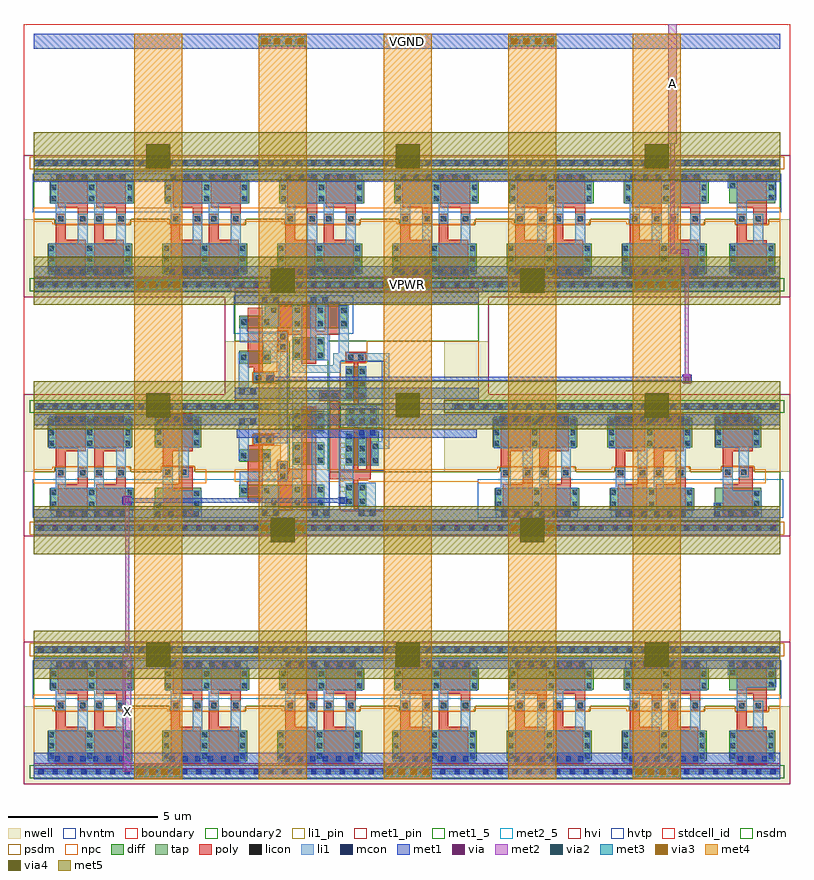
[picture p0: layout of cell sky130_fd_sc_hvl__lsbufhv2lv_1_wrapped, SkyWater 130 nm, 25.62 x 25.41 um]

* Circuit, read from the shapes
.subckt sky130_fd_sc_hvl__lsbufhv2lv_1_wrapped A VGND VPB VPWR X
XM1 VGND VPWR VGND VGND sky130_fd_pr__nfet_g5v0d10v5 w=0.75 l=1 m=34
XM2 VGND n1 n2 VGND sky130_fd_pr__nfet_g5v0d10v5 w=0.42 l=0.5
XM3 VPWR A n1 VGND sky130_fd_pr__nfet_g5v0d10v5 w=0.42 l=0.5
XM4 n3 n2 VGND VGND sky130_fd_pr__nfet_g5v0d10v5 w=0.75 l=0.5 m=4
XM5 n4 n1 VPWR VGND sky130_fd_pr__nfet_g5v0d10v5 w=0.75 l=0.5 m=4
XM6 VGND n3 X VGND sky130_fd_pr__nfet_01v8 w=0.74 l=0.15
XM7 VPWR VGND VPWR VPWR sky130_fd_pr__pfet_g5v0d10v5 w=1 l=1 m=26
XM8 VPWR VGND VPWR VPB sky130_fd_pr__pfet_g5v0d10v5 w=1 l=1 m=8
XM9 n2 n1 VPWR VPB sky130_fd_pr__pfet_g5v0d10v5 w=0.42 l=0.5
XM10 n1 A VPWR VPB sky130_fd_pr__pfet_g5v0d10v5 w=0.42 l=0.5
XM11 sky130_fd_sc_hvl__lsbufhv2lv_1_13/LVPWR n3 X sky130_fd_sc_hvl__lsbufhv2lv_1_13/LVPWR sky130_fd_pr__pfet_01v8_hvt w=1.12 l=0.15
XM12 sky130_fd_sc_hvl__lsbufhv2lv_1_13/LVPWR n4 n3 sky130_fd_sc_hvl__lsbufhv2lv_1_13/LVPWR sky130_fd_pr__pfet_01v8_hvt w=1.12 l=0.15
XM13 n4 n3 sky130_fd_sc_hvl__lsbufhv2lv_1_13/LVPWR sky130_fd_sc_hvl__lsbufhv2lv_1_13/LVPWR sky130_fd_pr__pfet_01v8_hvt w=1.12 l=0.15
.ends

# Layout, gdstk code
import gdstk
lib = gdstk.Library(unit=1e-6, precision=1e-09)
def R(c, l, rs):  # rectangles x0, y0, x1, y1
    for r in rs: c.add(gdstk.rectangle(r[:2], r[2:], *l))
def A(c, l, x, y, w, h, nx, ny, dx, dy):  # array of equal rectangles
    R(c, l, [(x+i*dx, y+j*dy, x+i*dx+w, y+j*dy+h) for i in range(nx) for j in range(ny)])
def P(c, l, *ps):  # polygons
    for p in ps: c.add(gdstk.Polygon(p, *l))
nwell = (64, 20)
diff = (65, 20)
tap = (65, 44)
poly = (66, 20)
licon = (66, 44)
li1_pin = (67, 16)
li1 = (67, 20)
mcon = (67, 44)
met1_5 = (68, 5)
met1_pin = (68, 16)
met1 = (68, 20)
via = (68, 44)
met2_5 = (69, 5)
met2 = (69, 20)
via2 = (69, 44)
met3 = (70, 20)
via3 = (70, 44)
met4 = (71, 20)
via4 = (71, 44)
met5 = (72, 20)
hvi = (75, 20)
hvtp = (78, 44)
stdcell_id = (81, 4)
nsdm = (93, 44)
psdm = (94, 20)
npc = (95, 20)
hvntm = (125, 20)
boundary = (235, 4)
boundary2 = (236, 0)

sky130_fd_sc_hvl__decap_ = lib.new_cell('sky130_fd_sc_hvl__decap_8')
R(sky130_fd_sc_hvl__decap_, nwell, [(-0.33,1.885,4.17,4.485)])
R(sky130_fd_sc_hvl__decap_, diff, [(0.535,0.59,3.365,1.34), (0.46,2.7,3.3,3.7)])
R(sky130_fd_sc_hvl__decap_, tap, [(0,-0.085,3.84,0.085), (0,3.985,3.84,4.155)])
P(sky130_fd_sc_hvl__decap_, poly, [(3.08,2.025),(2.75,2.025),(2.75,1.47),(2.08,1.47),(2.08,0.4),(3.08,0.4)],
  [(3.015,3.83),(2.015,3.83),(2.015,1.695),(2.345,1.695),(2.345,2.57),(3.015,2.57)],
  [(1.735,3.83),(0.735,3.83),(0.735,1.695),(1.065,1.695),(1.065,2.57),(1.735,2.57)],
  [(1.8,2.025),(1.47,2.025),(1.47,1.47),(0.8,1.47),(0.8,0.4),(1.8,0.4)])
A(sky130_fd_sc_hvl__decap_, licon, 0.155, -0.085, 0.17, 0.17, 8, 2, 0.48, 4.07)
A(sky130_fd_sc_hvl__decap_, licon, 0.575, 0.72, 0.17, 0.17, 3, 2, 1.28, 0.39)
A(sky130_fd_sc_hvl__decap_, licon, 0.5, 2.76, 0.17, 0.17, 1, 3, 0, 0.355)
A(sky130_fd_sc_hvl__decap_, licon, 1.79, 2.76, 0.17, 0.17, 1, 3, 0, 0.355)
A(sky130_fd_sc_hvl__decap_, licon, 3.07, 2.76, 0.17, 0.17, 1, 3, 0, 0.355)
R(sky130_fd_sc_hvl__decap_, licon, [(0.815,1.775,0.985,1.945), (1.55,1.775,1.72,1.945), (2.095,1.775,2.265,1.945), (2.83,1.775,3,1.945)])
R(sky130_fd_sc_hvl__decap_, li1, [(0,-0.085,3.84,0.085), (0,3.985,3.84,4.155)])
P(sky130_fd_sc_hvl__decap_, li1, [(3.24,3.75),(0.5,3.75),(0.5,2.68),(1.47,2.68),(1.47,1.695),(1.8,1.695),(1.8,2.68),(2.75,2.68),(2.75,1.695),(3.08,1.695),(3.08,2.68),(3.24,2.68)],
  [(3.305,1.36),(2.345,1.36),(2.345,2.025),(2.015,2.025),(2.015,1.36),(1.065,1.36),(1.065,2.025),(0.735,2.025),(0.735,1.36),(0.575,1.36),(0.575,0.36),(3.305,0.36)])
A(sky130_fd_sc_hvl__decap_, mcon, 0.155, -0.085, 0.17, 0.17, 8, 2, 0.48, 4.07)
R(sky130_fd_sc_hvl__decap_, mcon, [(0.745,0.39,0.915,0.56), (1.185,0.39,1.355,0.56), (1.6,0.39,1.77,0.56), (2.025,0.39,2.195,0.56), (2.465,0.39,2.635,0.56), (2.88,0.39,3.05,0.56), (0.705,3.555,0.875,3.725), (1.145,3.555,1.315,3.725), (1.56,3.555,1.73,3.725), (1.985,3.555,2.155,3.725), (2.425,3.555,2.595,3.725), (2.84,3.555,3.01,3.725)])
R(sky130_fd_sc_hvl__decap_, met1_pin, [(0,0,3.84,0.115), (0,0,3.84,0.115), (0,0.255,3.84,0.625), (0,3.445,3.84,3.815), (0,3.955,3.84,4.07), (0,3.955,3.84,4.07)])
R(sky130_fd_sc_hvl__decap_, met1, [(0,-0.115,3.84,0.115), (0,0.255,3.84,0.625), (0,3.445,3.84,3.815), (0,3.955,3.84,4.185)])
R(sky130_fd_sc_hvl__decap_, hvi, [(-0.33,-0.265,4.17,4.485)])
R(sky130_fd_sc_hvl__decap_, stdcell_id, [(0,0,3.84,4.07)])
R(sky130_fd_sc_hvl__decap_, nsdm, [(-0.13,3.855,3.97,4.285)])
P(sky130_fd_sc_hvl__decap_, nsdm, [(3.84,1.885),(3.24,1.885),(3.24,2.055),(0.705,2.055),(0.705,1.885),(0,1.885),(0,0.215),(3.84,0.215)])
R(sky130_fd_sc_hvl__decap_, psdm, [(-0.13,-0.215,3.97,0.215)])
P(sky130_fd_sc_hvl__decap_, psdm, [(3.84,3.855),(0,3.855),(0,1.885),(0.705,1.885),(0.705,2.055),(3.24,2.055),(3.24,1.885),(3.84,1.885)])
P(sky130_fd_sc_hvl__decap_, npc, [(3.84,1.97),(3.2,1.97),(3.2,2.05),(0.615,2.05),(0.615,1.97),(0,1.97),(0,1.5),(3.84,1.5)])
R(sky130_fd_sc_hvl__decap_, hvntm, [(-0.035,0.35,3.875,1.64)])
R(sky130_fd_sc_hvl__decap_, boundary2, [(0,0,3.84,4.07)])
sky130_fd_sc_hvl__decap_.add(gdstk.Label('decap_8', (0,0), layer=83, texttype=44))
sky130_fd_sc_hvl__decap_.add(gdstk.Label('VNB', (1.92,0.058), layer=68, texttype=5))
sky130_fd_sc_hvl__decap_.add(gdstk.Label('VGND', (1.92,0.44), layer=68, texttype=5))
sky130_fd_sc_hvl__decap_.add(gdstk.Label('VNB', (1.92,0.058), layer=68, texttype=5))
sky130_fd_sc_hvl__decap_.add(gdstk.Label('VPWR', (1.92,3.63), layer=68, texttype=5))
sky130_fd_sc_hvl__decap_.add(gdstk.Label('VPB', (1.92,4.013), layer=68, texttype=5))
sky130_fd_sc_hvl__decap_.add(gdstk.Label('VPB', (1.92,4.013), layer=68, texttype=5))

c_sky130_fd_sc_hvl__decap_ = lib.new_cell('sky130_fd_sc_hvl__decap_4')
R(c_sky130_fd_sc_hvl__decap_, nwell, [(-0.33,1.885,2.25,4.485)])
R(c_sky130_fd_sc_hvl__decap_, diff, [(0.21,0.595,1.76,1.345), (0.21,2.705,1.76,3.705)])
R(c_sky130_fd_sc_hvl__decap_, tap, [(0,-0.085,1.92,0.085), (0,3.985,1.92,4.155)])
P(c_sky130_fd_sc_hvl__decap_, poly, [(1.475,3.835),(0.475,3.835),(0.475,1.7),(0.805,1.7),(0.805,2.575),(1.475,2.575)],
  [(1.475,2.03),(1.015,2.03),(1.015,1.475),(0.475,1.475),(0.475,0.405),(1.475,0.405)])
A(c_sky130_fd_sc_hvl__decap_, licon, 0.155, -0.085, 0.17, 0.17, 4, 2, 0.48, 4.07)
A(c_sky130_fd_sc_hvl__decap_, licon, 0.25, 2.765, 0.17, 0.17, 1, 3, 0, 0.355)
A(c_sky130_fd_sc_hvl__decap_, licon, 1.53, 2.765, 0.17, 0.17, 1, 3, 0, 0.355)
R(c_sky130_fd_sc_hvl__decap_, licon, [(0.25,0.675,0.42,0.845), (1.53,0.725,1.7,0.895), (1.53,1.08,1.7,1.25), (0.555,1.78,0.725,1.95), (1.095,1.78,1.265,1.95)])
R(c_sky130_fd_sc_hvl__decap_, li1, [(0,-0.085,1.92,0.085), (0,3.985,1.92,4.155)])
P(c_sky130_fd_sc_hvl__decap_, li1, [(1.7,3.755),(0.25,3.755),(0.25,2.685),(1.015,2.685),(1.015,1.7),(1.345,1.7),(1.345,2.685),(1.7,2.685)],
  [(1.78,1.25),(0.805,1.25),(0.805,2.03),(0.475,2.03),(0.475,0.845),(0.17,0.845),(0.17,0.365),(1.78,0.365)])
A(c_sky130_fd_sc_hvl__decap_, mcon, 0.155, -0.085, 0.17, 0.17, 4, 2, 0.48, 4.07)
A(c_sky130_fd_sc_hvl__decap_, mcon, 0.215, 0.395, 0.17, 0.17, 3, 1, 0.44, 0)
R(c_sky130_fd_sc_hvl__decap_, mcon, [(1.51,0.395,1.68,0.565), (0.495,3.56,0.665,3.73), (0.86,3.56,1.03,3.73), (1.3,3.56,1.47,3.73)])
R(c_sky130_fd_sc_hvl__decap_, met1_pin, [(0,0,1.92,0.115), (0,0,1.92,0.115), (0,0.255,1.92,0.625), (0,3.445,1.92,3.815), (0,3.955,1.92,4.07), (0,3.955,1.92,4.07)])
R(c_sky130_fd_sc_hvl__decap_, met1, [(0,-0.115,1.92,0.115), (0,0.255,1.92,0.625), (0,3.445,1.92,3.815), (0,3.955,1.92,4.185)])
R(c_sky130_fd_sc_hvl__decap_, hvi, [(-0.33,-0.265,2.25,4.485)])
R(c_sky130_fd_sc_hvl__decap_, stdcell_id, [(0,0,1.92,4.07)])
R(c_sky130_fd_sc_hvl__decap_, nsdm, [(-0.13,3.855,2.05,4.285)])
P(c_sky130_fd_sc_hvl__decap_, nsdm, [(1.92,1.885),(1.54,1.885),(1.54,2.07),(0.425,2.07),(0.425,1.885),(0,1.885),(0,0.215),(1.92,0.215)])
R(c_sky130_fd_sc_hvl__decap_, psdm, [(-0.13,-0.215,2.05,0.215)])
P(c_sky130_fd_sc_hvl__decap_, psdm, [(1.92,3.855),(0,3.855),(0,1.885),(0.425,1.885),(0.425,2.07),(1.54,2.07),(1.54,1.885),(1.92,1.885)])
P(c_sky130_fd_sc_hvl__decap_, npc, [(1.92,1.97),(1.54,1.97),(1.54,2.05),(0.425,2.05),(0.425,1.97),(0,1.97),(0,1.5),(1.92,1.5)])
R(c_sky130_fd_sc_hvl__decap_, hvntm, [(-0.035,0.35,1.955,1.64)])
R(c_sky130_fd_sc_hvl__decap_, boundary2, [(0,0,1.92,4.07)])
c_sky130_fd_sc_hvl__decap_.add(gdstk.Label('decap_4', (0,0), layer=83, texttype=44))
c_sky130_fd_sc_hvl__decap_.add(gdstk.Label('VNB', (0.96,0.058), layer=68, texttype=5))
c_sky130_fd_sc_hvl__decap_.add(gdstk.Label('VGND', (0.96,0.44), layer=68, texttype=5))
c_sky130_fd_sc_hvl__decap_.add(gdstk.Label('VNB', (0.96,0.058), layer=68, texttype=5))
c_sky130_fd_sc_hvl__decap_.add(gdstk.Label('VPWR', (0.96,3.63), layer=68, texttype=5))
c_sky130_fd_sc_hvl__decap_.add(gdstk.Label('VPB', (0.96,4.013), layer=68, texttype=5))
c_sky130_fd_sc_hvl__decap_.add(gdstk.Label('VPB', (0.96,4.013), layer=68, texttype=5))

sky130_fd_sc_hvl__fill_2 = lib.new_cell('sky130_fd_sc_hvl__fill_2')
R(sky130_fd_sc_hvl__fill_2, nwell, [(-0.33,1.885,1.29,4.485)])
R(sky130_fd_sc_hvl__fill_2, tap, [(0,-0.085,0.96,0.085), (0,3.985,0.96,4.155)])
R(sky130_fd_sc_hvl__fill_2, licon, [(0.155,-0.085,0.325,0.085), (0.635,-0.085,0.805,0.085), (0.155,3.985,0.325,4.155), (0.635,3.985,0.805,4.155)])
R(sky130_fd_sc_hvl__fill_2, li1, [(0,-0.085,0.96,0.085), (0,3.985,0.96,4.155)])
R(sky130_fd_sc_hvl__fill_2, mcon, [(0.155,-0.085,0.325,0.085), (0.155,-0.085,0.325,0.085), (0.635,-0.085,0.805,0.085), (0.635,-0.085,0.805,0.085), (0.155,3.985,0.325,4.155), (0.155,3.985,0.325,4.155), (0.635,3.985,0.805,4.155), (0.635,3.985,0.805,4.155)])
R(sky130_fd_sc_hvl__fill_2, met1_pin, [(0,0,0.96,0.115), (0,0,0.96,0.115), (0,0.255,0.96,0.625), (0,3.445,0.96,3.815), (0,3.955,0.96,4.07), (0,3.955,0.96,4.07)])
R(sky130_fd_sc_hvl__fill_2, met1, [(0,-0.115,0.96,0.115), (0,0.255,0.96,0.625), (0,3.445,0.96,3.815), (0,3.955,0.96,4.185)])
R(sky130_fd_sc_hvl__fill_2, hvi, [(-0.33,-0.265,1.29,4.485)])
R(sky130_fd_sc_hvl__fill_2, stdcell_id, [(0,0,0.96,4.07)])
R(sky130_fd_sc_hvl__fill_2, nsdm, [(0,0.215,0.96,1.885), (-0.13,3.855,1.09,4.285), (0,3.855,0.96,4.07)])
R(sky130_fd_sc_hvl__fill_2, psdm, [(-0.13,-0.215,1.09,0.215), (0,1.885,0.96,3.855)])
R(sky130_fd_sc_hvl__fill_2, hvntm, [(-0.035,0.35,0.995,1.64)])
R(sky130_fd_sc_hvl__fill_2, boundary2, [(0,0,0.96,4.07)])
sky130_fd_sc_hvl__fill_2.add(gdstk.Label('fill_2', (0,0), layer=83, texttype=44))
sky130_fd_sc_hvl__fill_2.add(gdstk.Label('VGND', (0.48,0.44), layer=68, texttype=5))
sky130_fd_sc_hvl__fill_2.add(gdstk.Label('VNB', (0.48,0.058), layer=68, texttype=5))
sky130_fd_sc_hvl__fill_2.add(gdstk.Label('VNB', (0.48,0.058), layer=68, texttype=5))
sky130_fd_sc_hvl__fill_2.add(gdstk.Label('VPWR', (0.48,3.63), layer=68, texttype=5))
sky130_fd_sc_hvl__fill_2.add(gdstk.Label('VPB', (0.48,4.013), layer=68, texttype=5))
sky130_fd_sc_hvl__fill_2.add(gdstk.Label('VPB', (0.48,4.013), layer=68, texttype=5))

sky130_fd_sc_hvl__lsbufh = lib.new_cell('sky130_fd_sc_hvl__lsbufhv2lv_1')
R(sky130_fd_sc_hvl__lsbufh, nwell, [(-0.33,1.885,1.53,6.255), (7,1.885,8.49,6.255), (3.53,1.925,5,5.575)])
R(sky130_fd_sc_hvl__lsbufh, diff, [(1.96,0.705,2.99,1.455), (3.71,0.755,4.39,1.495), (3.71,2.105,4.82,3.225), (1.96,2.125,2.99,2.875), (0.15,2.215,1.2,2.635), (1.96,3.175,2.99,3.925), (3.71,4.275,4.39,5.395), (0.15,5.505,1.2,5.925), (1.96,5.635,2.99,6.385), (1.96,6.685,2.99,7.435), (2.74,6.685,3.77,7.435)])
P(sky130_fd_sc_hvl__lsbufh, diff, [(2.04,6.685),(0.15,6.685),(0.15,7.105),(1.01,7.105),(1.01,7.435),(2.04,7.435)],
  [(2.04,1.455),(0.15,1.455),(0.15,1.035),(1.01,1.035),(1.01,0.705),(2.04,0.705)])
R(sky130_fd_sc_hvl__lsbufh, tap, [(0,-0.085,8.16,0.085), (3.71,3.495,4.82,4.005), (0,3.985,1.2,4.155), (7.33,3.985,8.16,4.155), (0,8.055,8.16,8.225)])
R(sky130_fd_sc_hvl__lsbufh, poly, [(3.975,0.625,4.125,3.355), (4.405,1.965,4.555,3.355), (0.63,2.795,1.3,3.125), (2.225,3.045,2.725,4.055), (3.975,4.145,4.125,5.555), (2.83,4.265,3.5,4.595), (0.63,4.87,1.3,5.2), (0.63,5.2,0.935,5.375), (0.435,5.375,0.935,6.085), (3.715,5.555,4.385,5.885), (0.435,5.97,0.935,7.37)])
P(sky130_fd_sc_hvl__lsbufh, poly, [(2.725,3.045),(2.225,3.045),(2.225,1.98),(1.775,1.98),(1.775,2.235),(1.445,2.235),(1.445,0.575),(1.945,0.575),(1.945,1.65),(2.225,1.65),(2.225,0.575),(2.725,0.575)],
  [(4.555,1.965),(3.5,1.965),(3.5,4.265),(3.17,4.265),(3.17,1.635),(4.555,1.635)],
  [(0.935,2.795),(0.63,2.795),(0.63,2.765),(0.435,2.765),(0.435,0.905),(0.935,0.905)],
  [(3.505,7.565),(3.005,7.565),(3.005,6.61),(2.725,6.61),(2.725,7.565),(2.225,7.565),(2.225,6.61),(1.945,6.61),(1.945,7.565),(1.445,7.565),(1.445,5.905),(1.775,5.905),(1.775,6.46),(2.225,6.46),(2.225,5.505),(2.725,5.505),(2.725,6.46),(3.505,6.46)])
A(sky130_fd_sc_hvl__lsbufh, licon, 0.155, -0.085, 0.17, 0.17, 17, 2, 0.48, 8.14)
A(sky130_fd_sc_hvl__lsbufh, licon, 1.22, 0.765, 0.17, 0.17, 3, 1, 0.78, 0)
A(sky130_fd_sc_hvl__lsbufh, licon, 3.75, 2.165, 0.17, 0.17, 3, 1, 0.43, 0)
A(sky130_fd_sc_hvl__lsbufh, licon, 3.83, 3.495, 0.17, 0.17, 3, 2, 0.35, 0.34)
A(sky130_fd_sc_hvl__lsbufh, licon, 3.75, 4.335, 0.17, 0.17, 1, 3, 0, 0.415)
A(sky130_fd_sc_hvl__lsbufh, licon, 4.18, 4.335, 0.17, 0.17, 1, 3, 0, 0.415)
A(sky130_fd_sc_hvl__lsbufh, licon, 2, 6.745, 0.17, 0.17, 3, 1, 0.78, 0)
A(sky130_fd_sc_hvl__lsbufh, licon, 1.22, 7.205, 0.17, 0.17, 4, 1, 0.78, 0)
R(sky130_fd_sc_hvl__lsbufh, licon, [(3.75,0.815,3.92,0.985), (4.18,0.815,4.35,0.985), (0.21,1.16,0.38,1.33), (0.99,1.16,1.16,1.33), (2,1.205,2.17,1.375), (2.78,1.205,2.95,1.375), (3.75,1.265,3.92,1.435), (4.18,1.265,4.35,1.435), (1.525,1.645,1.695,1.815), (1.525,1.985,1.695,2.155), (2,2.185,2.17,2.355), (2.78,2.185,2.95,2.355), (0.21,2.34,0.38,2.51), (0.99,2.34,1.16,2.51), (3.75,2.58,3.92,2.75), (4.18,2.58,4.35,2.75), (2,2.625,2.17,2.795), (2.78,2.625,2.95,2.795), (4.61,2.655,4.78,2.825), (0.71,2.875,0.88,3.045), (1.05,2.875,1.22,3.045), (3.75,2.995,3.92,3.165), (4.18,2.995,4.35,3.165), (2,3.235,2.17,3.405), (2.78,3.235,2.95,3.405), (2,3.675,2.17,3.845), (2.78,3.675,2.95,3.845), (0.155,3.985,0.325,4.155), (0.635,3.985,0.805,4.155), (7.45,3.985,7.62,4.155), (7.835,3.985,8.005,4.155), (2.91,4.345,3.08,4.515), (3.25,4.345,3.42,4.515), (0.71,4.95,0.88,5.12), (1.05,4.95,1.22,5.12), (0.21,5.63,0.38,5.8), (0.99,5.63,1.16,5.8), (3.795,5.635,3.965,5.805), (4.135,5.635,4.305,5.805), (2,5.695,2.17,5.865), (2.78,5.695,2.95,5.865), (1.525,5.985,1.695,6.155), (2,6.155,2.17,6.325), (2.78,6.155,2.95,6.325), (1.525,6.325,1.695,6.495), (0.21,6.81,0.38,6.98), (0.99,6.81,1.16,6.98)])
A(sky130_fd_sc_hvl__lsbufh, li1_pin, 3.515, 0.84, 0.17, 0.17, 1, 6, 0, 0.37)
R(sky130_fd_sc_hvl__lsbufh, li1_pin, [(0.635,4.91,0.805,5.08), (1.115,4.91,1.285,5.08)])
R(sky130_fd_sc_hvl__lsbufh, li1, [(0,-0.085,8.16,0.085), (0.895,0.395,1.485,1.395), (2.57,0.395,3.16,3.91), (4.13,0.395,4.72,1.515), (3.485,0.735,3.96,3.245), (0,3.985,0.885,4.155), (7.275,3.985,8.16,4.155), (4.13,4.015,4.4,5.415), (0.63,4.87,1.3,5.2), (2.53,5.615,3.12,7.745), (0.895,6.745,1.485,7.745), (0,8.055,8.16,8.225)])
P(sky130_fd_sc_hvl__lsbufh, li1, [(3.96,5.415),(3.71,5.415),(3.71,4.595),(1.92,4.595),(1.92,0.685),(2.25,0.685),(2.25,4.255),(3.96,4.255)],
  [(5.17,5.845),(3.81,5.845),(3.81,7.455),(3.48,7.455),(3.48,5.845),(3.29,5.845),(3.29,5.445),(2.25,5.445),(2.25,7.455),(1.92,7.455),(1.92,5.195),(3.54,5.195),(3.54,5.595),(4.92,5.595),(4.92,2.905),(4.57,2.905),(4.57,2.085),(4.82,2.085),(4.82,2.655),(5.17,2.655)],
  [(1.75,6.575),(0.42,6.575),(0.42,7.06),(0.17,7.06),(0.17,6.22),(0.95,6.22),(0.95,5.55),(1.47,5.55),(1.47,3.085),(0.63,3.085),(0.63,2.835),(1.75,2.835)],
  [(4.75,4.085),(3.78,4.085),(3.78,3.415),(4.13,3.415),(4.13,2.085),(4.4,2.085),(4.4,3.075),(4.75,3.075)],
  [(1.75,2.235),(1.445,2.235),(1.445,1.895),(1.2,1.895),(1.2,2.59),(0.95,2.59),(0.95,1.895),(0.17,1.895),(0.17,1.08),(0.42,1.08),(0.42,1.565),(1.75,1.565)],
  [(0.72,4.465),(0.13,4.465),(0.13,5.88),(0.46,5.88),(0.46,4.695),(0.72,4.695)],
  [(0.72,3.675),(0.13,3.675),(0.13,2.26),(0.46,2.26),(0.46,3.445),(0.72,3.445)])
A(sky130_fd_sc_hvl__lsbufh, mcon, 0.155, -0.085, 0.17, 0.17, 17, 2, 0.48, 8.14)
R(sky130_fd_sc_hvl__lsbufh, mcon, [(0.925,0.425,1.095,0.595), (1.285,0.425,1.455,0.595), (2.6,0.425,2.77,0.595), (2.96,0.425,3.13,0.595), (4.16,0.425,4.33,0.595), (4.52,0.425,4.69,0.595), (4.16,3.105,4.33,3.275), (4.52,3.105,4.69,3.275), (0.16,3.475,0.33,3.645), (0.52,3.475,0.69,3.645), (0.155,3.985,0.325,4.155), (0.635,3.985,0.805,4.155), (7.355,3.985,7.525,4.155), (7.835,3.985,8.005,4.155), (0.16,4.495,0.33,4.665), (0.52,4.495,0.69,4.665), (0.925,7.545,1.095,7.715), (1.285,7.545,1.455,7.715), (2.56,7.545,2.73,7.715), (2.92,7.545,3.09,7.715)])
R(sky130_fd_sc_hvl__lsbufh, met1_pin, [(0,0,8.16,0.115), (0,0.255,8.16,0.625), (0.07,3.02,8.09,3.305), (0,3.445,8.16,3.815), (0,3.955,8.16,4.185), (0,4.325,8.16,4.695), (0,7.515,8.16,7.885), (0,8.025,8.16,8.14)])
A(sky130_fd_sc_hvl__lsbufh, met1, 0, -0.115, 8.16, 0.23, 1, 3, 0, 4.07)
R(sky130_fd_sc_hvl__lsbufh, met1, [(0,0.255,8.16,0.625), (0.07,3.02,8.09,3.305), (0,3.445,8.16,3.815), (0,4.325,8.16,4.695), (0,7.515,8.16,7.885)])
P(sky130_fd_sc_hvl__lsbufh, hvi, [(8.49,8.405),(5,8.405),(5,0.575),(3.53,0.575),(3.53,5.575),(5,5.575),(5,8.405),(-0.33,8.405),(-0.33,-0.265),(8.49,-0.265)])
R(sky130_fd_sc_hvl__lsbufh, hvtp, [(3.53,1.925,5,5.575)])
R(sky130_fd_sc_hvl__lsbufh, stdcell_id, [(0,0,8.16,8.14)])
R(sky130_fd_sc_hvl__lsbufh, nsdm, [(3.53,3.365,5,4.135), (7,3.855,8.29,4.285)])
P(sky130_fd_sc_hvl__lsbufh, nsdm, [(8.16,1.885),(3.12,1.885),(3.12,6.255),(8.16,6.255),(8.16,7.925),(0,7.925),(0,6.255),(1.83,6.255),(1.83,4.285),(-0.13,4.285),(-0.13,3.855),(1.83,3.855),(1.83,1.885),(0,1.885),(0,0.215),(8.16,0.215)])
R(sky130_fd_sc_hvl__lsbufh, psdm, [(-0.13,-0.215,8.29,0.215), (-0.13,7.925,8.29,8.355)])
P(sky130_fd_sc_hvl__lsbufh, psdm, [(1.53,4.84),(0.6,4.84),(0.6,5.23),(1.415,5.23),(1.415,6.255),(0,6.255),(0,4.285),(1.53,4.285)],
  [(1.53,2.765),(0.6,2.765),(0.6,3.155),(1.53,3.155),(1.53,3.855),(0,3.855),(0,1.885),(1.415,1.885),(1.415,2.265),(1.53,2.265)],
  [(8.16,3.855),(7,3.855),(7,4.285),(8.16,4.285),(8.16,6.255),(4.415,6.255),(4.415,5.525),(3.53,5.525),(3.53,4.135),(5,4.135),(5,3.365),(3.53,3.365),(3.53,1.885),(8.16,1.885)])
R(sky130_fd_sc_hvl__lsbufh, npc, [(0.61,2.775,1.32,3.145), (2.81,4.245,3.52,4.615), (0.61,4.85,1.32,5.22), (3.695,5.535,4.405,5.905), (1.425,5.885,1.795,6.595)])
P(sky130_fd_sc_hvl__lsbufh, npc, [(8.16,1.97),(1.795,1.97),(1.795,2.255),(1.425,2.255),(1.425,1.97),(0,1.97),(0,1.545),(3.62,1.545),(3.62,1.585),(4.48,1.585),(4.48,1.545),(8.16,1.545)])
P(sky130_fd_sc_hvl__lsbufh, hvntm, [(3.955,7.79),(-0.035,7.79),(-0.035,6.5),(1.775,6.5),(1.775,1.64),(-0.035,1.64),(-0.035,0.35),(3.175,0.35),(3.175,6.5),(3.955,6.5)])
R(sky130_fd_sc_hvl__lsbufh, boundary2, [(0,0,8.16,8.14)])
sky130_fd_sc_hvl__lsbufh.add(gdstk.Label('X', (3.6,1.665), layer=67, texttype=5))
sky130_fd_sc_hvl__lsbufh.add(gdstk.Label('X', (3.6,0.925), layer=67, texttype=5))
sky130_fd_sc_hvl__lsbufh.add(gdstk.Label('X', (3.6,1.295), layer=67, texttype=5))
sky130_fd_sc_hvl__lsbufh.add(gdstk.Label('X', (3.6,2.775), layer=67, texttype=5))
sky130_fd_sc_hvl__lsbufh.add(gdstk.Label('X', (3.6,2.405), layer=67, texttype=5))
sky130_fd_sc_hvl__lsbufh.add(gdstk.Label('X', (3.6,2.035), layer=67, texttype=5))
sky130_fd_sc_hvl__lsbufh.add(gdstk.Label('A', (0.72,4.995), layer=67, texttype=5))
sky130_fd_sc_hvl__lsbufh.add(gdstk.Label('A', (1.2,4.995), layer=67, texttype=5))
sky130_fd_sc_hvl__lsbufh.add(gdstk.Label('lsbuflv2hv_1', (0,0), layer=83, texttype=44))
sky130_fd_sc_hvl__lsbufh.add(gdstk.Label('cross2', (3.18,2.35), layer=83, texttype=44))
sky130_fd_sc_hvl__lsbufh.add(gdstk.Label('VPWR', (4.32,3.63), layer=68, texttype=5))
sky130_fd_sc_hvl__lsbufh.add(gdstk.Label('VPWR', (4.32,4.51), layer=68, texttype=5))
sky130_fd_sc_hvl__lsbufh.add(gdstk.Label('VGND', (4.32,7.7), layer=68, texttype=5))
sky130_fd_sc_hvl__lsbufh.add(gdstk.Label('VGND', (4.32,0.44), layer=68, texttype=5))
sky130_fd_sc_hvl__lsbufh.add(gdstk.Label('VNB', (4.32,0.058), layer=68, texttype=5))
sky130_fd_sc_hvl__lsbufh.add(gdstk.Label('LVPWR', (4.32,3.165), layer=68, texttype=5))
sky130_fd_sc_hvl__lsbufh.add(gdstk.Label('VPB', (4.32,4.068), layer=68, texttype=5))
sky130_fd_sc_hvl__lsbufh.add(gdstk.Label('VNB', (4.32,8.082), layer=68, texttype=5))

sky130_fd_sc_hvl__fill_1 = lib.new_cell('sky130_fd_sc_hvl__fill_1')
R(sky130_fd_sc_hvl__fill_1, nwell, [(-0.33,1.885,0.81,4.485)])
R(sky130_fd_sc_hvl__fill_1, tap, [(0,-0.085,0.48,0.085), (0,3.985,0.48,4.155)])
R(sky130_fd_sc_hvl__fill_1, licon, [(0.155,-0.085,0.325,0.085), (0.155,3.985,0.325,4.155)])
R(sky130_fd_sc_hvl__fill_1, li1, [(0,-0.085,0.48,0.085), (0,3.985,0.48,4.155)])
R(sky130_fd_sc_hvl__fill_1, mcon, [(0.155,-0.085,0.325,0.085), (0.155,-0.085,0.325,0.085), (0.155,3.985,0.325,4.155), (0.155,3.985,0.325,4.155)])
R(sky130_fd_sc_hvl__fill_1, met1_pin, [(0,0,0.48,0.115), (0,0,0.48,0.115), (0,0.255,0.48,0.625), (0,3.445,0.48,3.815), (0,3.955,0.48,4.07), (0,3.955,0.48,4.07)])
R(sky130_fd_sc_hvl__fill_1, met1, [(0,-0.115,0.48,0.115), (0,0.255,0.48,0.625), (0,3.445,0.48,3.815), (0,3.955,0.48,4.185)])
R(sky130_fd_sc_hvl__fill_1, hvi, [(-0.33,-0.265,0.81,4.485)])
R(sky130_fd_sc_hvl__fill_1, stdcell_id, [(0,0,0.48,4.07)])
R(sky130_fd_sc_hvl__fill_1, nsdm, [(0,0.215,0.48,1.885), (-0.13,3.855,0.61,4.285), (0,3.855,0.48,4.07)])
R(sky130_fd_sc_hvl__fill_1, psdm, [(-0.13,-0.215,0.61,0.215), (0,1.885,0.48,3.855)])
R(sky130_fd_sc_hvl__fill_1, hvntm, [(-0.11,0.35,0.59,1.64)])
R(sky130_fd_sc_hvl__fill_1, boundary2, [(0,0,0.48,4.07)])
sky130_fd_sc_hvl__fill_1.add(gdstk.Label('fill_1', (0,0), layer=83, texttype=44))
sky130_fd_sc_hvl__fill_1.add(gdstk.Label('VNB', (0.24,0.058), layer=68, texttype=5))
sky130_fd_sc_hvl__fill_1.add(gdstk.Label('VNB', (0.24,0.058), layer=68, texttype=5))
sky130_fd_sc_hvl__fill_1.add(gdstk.Label('VPWR', (0.24,3.63), layer=68, texttype=5))
sky130_fd_sc_hvl__fill_1.add(gdstk.Label('VPB', (0.24,4.013), layer=68, texttype=5))
sky130_fd_sc_hvl__fill_1.add(gdstk.Label('VPB', (0.24,4.013), layer=68, texttype=5))
sky130_fd_sc_hvl__fill_1.add(gdstk.Label('VGND', (0.24,0.44), layer=68, texttype=5))

c_sky130_fd_sc_hvl__lsbufh = lib.new_cell('sky130_fd_sc_hvl__lsbufhv2lv_1_wrapped')
R(c_sky130_fd_sc_hvl__lsbufh, li1, [(10.565,9.4,10.735,9.57), (8.165,13.47,8.335,13.64)])
R(c_sky130_fd_sc_hvl__lsbufh, mcon, [(10.565,9.4,10.735,9.57), (8.165,13.47,8.335,13.64)])
R(c_sky130_fd_sc_hvl__lsbufh, met1_5, [(0.33,16.445,25.29,16.955), (0.33,24.585,25.29,25.095)])
A(c_sky130_fd_sc_hvl__lsbufh, met1, 0.33, 0.165, 24.96, 0.51, 1, 4, 0, 8.14)
R(c_sky130_fd_sc_hvl__lsbufh, met1, [(3.29,9.355,3.61,9.415), (10.505,9.37,10.795,9.415), (3.29,9.415,10.795,9.555), (3.29,9.555,3.61,9.615), (10.505,9.555,10.795,9.6), (22.01,13.425,22.33,13.485), (8.105,13.44,8.395,13.485), (8.105,13.485,22.33,13.625), (8.105,13.625,8.395,13.67), (22.01,13.625,22.33,13.685)])
A(c_sky130_fd_sc_hvl__lsbufh, via, 3.94, 0.345, 0.15, 0.15, 4, 2, 0.32, 16.28)
A(c_sky130_fd_sc_hvl__lsbufh, via, 12.275, 0.345, 0.15, 0.15, 4, 2, 0.32, 16.28)
A(c_sky130_fd_sc_hvl__lsbufh, via, 20.605, 0.345, 0.15, 0.15, 4, 2, 0.32, 16.28)
A(c_sky130_fd_sc_hvl__lsbufh, via, 8.105, 8.485, 0.15, 0.15, 4, 2, 0.32, 16.28)
A(c_sky130_fd_sc_hvl__lsbufh, via, 16.44, 8.485, 0.15, 0.15, 4, 2, 0.32, 16.28)
R(c_sky130_fd_sc_hvl__lsbufh, via, [(3.375,9.41,3.525,9.56), (22.095,13.48,22.245,13.63)])
R(c_sky130_fd_sc_hvl__lsbufh, met2_5, [(3.31,0.42,3.59,4.42), (21.55,21.42,21.83,25.42)])
R(c_sky130_fd_sc_hvl__lsbufh, met2, [(3.755,0.165,5.235,0.675), (12.09,0.165,13.57,0.675), (20.42,0.165,21.9,0.675), (3.31,0.42,3.59,4.42), (3.38,4.42,3.52,9.325), (7.92,8.305,9.4,8.815), (16.255,8.305,17.735,8.815), (3.32,9.325,3.58,9.645), (22.04,13.395,22.3,13.715), (22.1,13.715,22.24,17.74), (3.755,16.445,5.235,16.955), (12.09,16.445,13.57,16.955), (20.42,16.445,21.9,16.955), (21.62,17.74,22.24,17.88), (21.62,17.88,21.76,21.42), (21.55,21.42,21.83,25.42), (7.92,24.585,9.4,25.095), (16.255,24.585,17.735,25.095)])
A(c_sky130_fd_sc_hvl__lsbufh, via2, 3.795, 0.32, 0.2, 0.2, 4, 2, 0.4, 16.28)
A(c_sky130_fd_sc_hvl__lsbufh, via2, 12.13, 0.32, 0.2, 0.2, 4, 2, 0.4, 16.28)
A(c_sky130_fd_sc_hvl__lsbufh, via2, 20.46, 0.32, 0.2, 0.2, 4, 2, 0.4, 16.28)
A(c_sky130_fd_sc_hvl__lsbufh, via2, 7.96, 8.46, 0.2, 0.2, 4, 2, 0.4, 16.28)
A(c_sky130_fd_sc_hvl__lsbufh, via2, 16.295, 8.46, 0.2, 0.2, 4, 2, 0.4, 16.28)
R(c_sky130_fd_sc_hvl__lsbufh, met3, [(3.695,0.255,5.295,0.585), (12.03,0.255,13.63,0.585), (20.36,0.255,21.96,0.585), (7.86,8.395,9.46,8.725), (16.195,8.395,17.795,8.725), (3.695,16.535,5.295,16.865), (12.03,16.535,13.63,16.865), (20.36,16.535,21.96,16.865), (7.86,24.675,9.46,25.005), (16.195,24.675,17.795,25.005)])
A(c_sky130_fd_sc_hvl__lsbufh, via3, 3.795, 0.32, 0.2, 0.2, 4, 2, 0.4, 16.28)
A(c_sky130_fd_sc_hvl__lsbufh, via3, 12.13, 0.32, 0.2, 0.2, 4, 2, 0.4, 16.28)
A(c_sky130_fd_sc_hvl__lsbufh, via3, 20.46, 0.32, 0.2, 0.2, 4, 2, 0.4, 16.28)
A(c_sky130_fd_sc_hvl__lsbufh, via3, 7.96, 8.46, 0.2, 0.2, 4, 2, 0.4, 16.28)
A(c_sky130_fd_sc_hvl__lsbufh, via3, 16.295, 8.46, 0.2, 0.2, 4, 2, 0.4, 16.28)
A(c_sky130_fd_sc_hvl__lsbufh, met4, 12.03, 0.165, 1.6, 24.93, 3, 1, 4.165, 0)
R(c_sky130_fd_sc_hvl__lsbufh, met4, [(3.695,0.165,5.295,25.095), (7.86,0.165,9.46,25.095)])
R(c_sky130_fd_sc_hvl__lsbufh, via4, [(4.095,3.93,4.895,4.73), (12.43,3.93,13.23,4.73), (20.76,3.93,21.56,4.73), (8.26,8.095,9.06,8.895), (16.595,8.095,17.395,8.895), (4.095,12.265,4.895,13.065), (12.43,12.265,13.23,13.065), (20.76,12.265,21.56,13.065), (8.26,16.43,9.06,17.23), (16.595,16.43,17.395,17.23), (4.095,20.595,4.895,21.395), (12.43,20.595,13.23,21.395), (20.76,20.595,21.56,21.395)])
A(c_sky130_fd_sc_hvl__lsbufh, met5, 0.33, 11.865, 24.96, 1.6, 1, 3, 0, 4.165)
R(c_sky130_fd_sc_hvl__lsbufh, met5, [(0.33,3.53,25.29,5.13), (0.33,7.695,25.29,9.295)])
R(c_sky130_fd_sc_hvl__lsbufh, boundary, [(0,0.005,25.62,25.42)])
c_sky130_fd_sc_hvl__lsbufh.add(gdstk.Reference(sky130_fd_sc_hvl__decap_, (8.01,4.49), x_reflection=True))
c_sky130_fd_sc_hvl__lsbufh.add(gdstk.Reference(sky130_fd_sc_hvl__decap_, (4.17,4.49), x_reflection=True))
c_sky130_fd_sc_hvl__lsbufh.add(gdstk.Reference(sky130_fd_sc_hvl__decap_, (0.33,4.49), x_reflection=True))
c_sky130_fd_sc_hvl__lsbufh.add(gdstk.Reference(sky130_fd_sc_hvl__decap_, (15.69,4.49), x_reflection=True))
c_sky130_fd_sc_hvl__lsbufh.add(gdstk.Reference(sky130_fd_sc_hvl__decap_, (11.85,4.49), x_reflection=True))
c_sky130_fd_sc_hvl__lsbufh.add(gdstk.Reference(c_sky130_fd_sc_hvl__decap_, (23.37,4.49), x_reflection=True))
c_sky130_fd_sc_hvl__lsbufh.add(gdstk.Reference(sky130_fd_sc_hvl__decap_, (19.53,4.49), x_reflection=True))
c_sky130_fd_sc_hvl__lsbufh.add(gdstk.Reference(sky130_fd_sc_hvl__decap_, (8.01,20.77), x_reflection=True))
c_sky130_fd_sc_hvl__lsbufh.add(gdstk.Reference(sky130_fd_sc_hvl__decap_, (4.17,20.77), x_reflection=True))
c_sky130_fd_sc_hvl__lsbufh.add(gdstk.Reference(sky130_fd_sc_hvl__decap_, (0.33,20.77), x_reflection=True))
c_sky130_fd_sc_hvl__lsbufh.add(gdstk.Reference(sky130_fd_sc_hvl__fill_2, (6.09,8.56)))
c_sky130_fd_sc_hvl__lsbufh.add(gdstk.Reference(c_sky130_fd_sc_hvl__decap_, (4.17,8.56)))
c_sky130_fd_sc_hvl__lsbufh.add(gdstk.Reference(sky130_fd_sc_hvl__decap_, (0.33,8.56)))
c_sky130_fd_sc_hvl__lsbufh.add(gdstk.Reference(sky130_fd_sc_hvl__lsbufh, (7.05,8.56)))
c_sky130_fd_sc_hvl__lsbufh.add(gdstk.Reference(sky130_fd_sc_hvl__decap_, (15.69,20.77), x_reflection=True))
c_sky130_fd_sc_hvl__lsbufh.add(gdstk.Reference(sky130_fd_sc_hvl__decap_, (11.85,20.77), x_reflection=True))
c_sky130_fd_sc_hvl__lsbufh.add(gdstk.Reference(sky130_fd_sc_hvl__decap_, (15.21,8.56)))
c_sky130_fd_sc_hvl__lsbufh.add(gdstk.Reference(c_sky130_fd_sc_hvl__decap_, (23.37,20.77), x_reflection=True))
c_sky130_fd_sc_hvl__lsbufh.add(gdstk.Reference(sky130_fd_sc_hvl__decap_, (19.53,20.77), x_reflection=True))
c_sky130_fd_sc_hvl__lsbufh.add(gdstk.Reference(sky130_fd_sc_hvl__fill_1, (24.81,8.56)))
c_sky130_fd_sc_hvl__lsbufh.add(gdstk.Reference(c_sky130_fd_sc_hvl__decap_, (22.89,8.56)))
c_sky130_fd_sc_hvl__lsbufh.add(gdstk.Reference(sky130_fd_sc_hvl__decap_, (19.05,8.56)))
c_sky130_fd_sc_hvl__lsbufh.add(gdstk.Label('A', (21.69,23.42), layer=69, texttype=5))
c_sky130_fd_sc_hvl__lsbufh.add(gdstk.Label('X', (3.45,2.42), layer=69, texttype=5))
c_sky130_fd_sc_hvl__lsbufh.add(gdstk.Label('VPWR', (12.81,16.7), layer=68, texttype=5))
c_sky130_fd_sc_hvl__lsbufh.add(gdstk.Label('VGND', (12.81,24.84), layer=68, texttype=5))

lib.write_gds('sky130_fd_sc_hvl__lsbufhv2lv_1_wrapped.gds')
